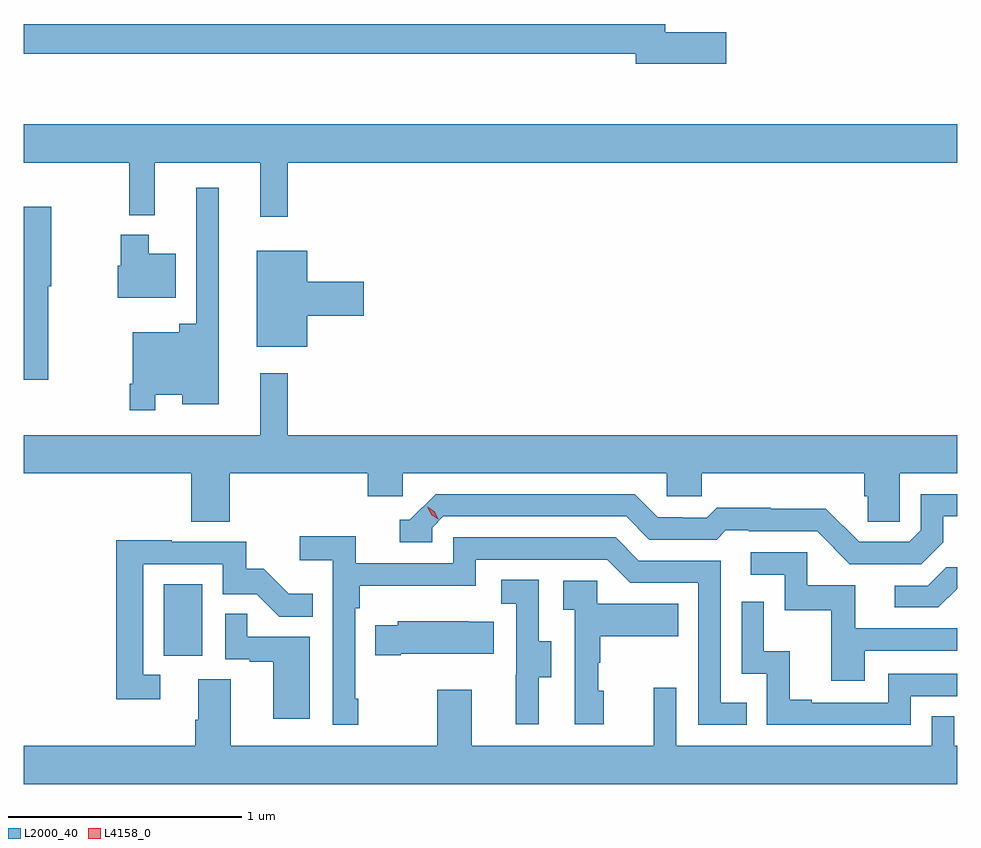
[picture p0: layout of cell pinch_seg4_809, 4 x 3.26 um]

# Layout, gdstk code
import gdstk
lib = gdstk.Library(unit=1e-6, precision=1e-09)
def R(c, l, rs):  # rectangles x0, y0, x1, y1
    for r in rs: c.add(gdstk.rectangle(r[:2], r[2:], *l))
def P(c, l, *ps):  # polygons
    for p in ps: c.add(gdstk.Polygon(p, *l))
L2000_40 = (2000, 40)
L4158_0 = (4158, 0)

pinch_seg4_809 = lib.new_cell('pinch_seg4_809')
R(pinch_seg4_809, L2000_40, [(805.124,801.366,805.288,801.673)])
P(pinch_seg4_809, L2000_40, [(807.535,804.038),(807.274,804.038),(807.274,804.074),(804.524,804.074),(804.524,803.946),(807.146,803.946),(807.146,803.903),(807.535,803.903)],
  [(805.655,803.48),(808.524,803.48),(808.524,803.644),(804.524,803.644),(804.524,803.48),(804.975,803.48),(804.975,803.255),(805.085,803.255),(805.085,803.48),(805.538,803.48),(805.538,803.247),(805.655,803.247)],
  [(805.086,802.484),(805.202,802.484),(805.202,802.445),(805.36,802.445),(805.36,803.371),(805.263,803.371),(805.263,802.789),(805.19,802.789),(805.19,802.753),(804.99,802.753),(804.99,802.531),(804.978,802.531),(804.978,802.419),(805.086,802.419)],
  [(804.628,802.95),(804.64,802.95),(804.64,803.29),(804.524,803.29),(804.524,802.548),(804.628,802.548)],
  [(805.174,803.089),(805.06,803.089),(805.06,803.17),(804.938,803.17),(804.938,803.037),(804.926,803.037),(804.926,802.901),(805.174,802.901)],
  [(805.738,802.823),(805.981,802.823),(805.981,802.97),(805.738,802.97),(805.738,803.101),(805.523,803.101),(805.523,802.691),(805.738,802.691)],
  [(805.406,802.148),(805.997,802.148),(805.997,802.05),(806.148,802.05),(806.148,802.148),(807.279,802.148),(807.279,802.05),(807.429,802.05),(807.429,802.148),(808.127,802.148),(808.127,802.05),(808.141,802.05),(808.141,801.94),(808.278,801.94),(808.278,802.148),(808.524,802.148),(808.524,802.312),(805.655,802.312),(805.655,802.576),(805.538,802.576),(805.538,802.312),(804.524,802.312),(804.524,802.148),(805.241,802.148),(805.241,801.94),(805.406,801.94)],
  [(808.465,801.853),(808.465,801.963),(808.524,801.963),(808.524,802.059),(808.368,802.059),(808.368,801.903),(808.32,801.855),(808.104,801.855),(807.962,801.997),(807.726,801.997),(807.726,802),(807.493,802),(807.451,801.957),(807.348,801.957),(807.348,801.96),(807.241,801.96),(807.142,802.059),(806.289,802.059),(806.178,801.948),(806.135,801.948),(806.135,801.852),(806.274,801.852),(806.274,801.915),(806.322,801.963),(807.105,801.963),(807.204,801.864),(807.493,801.864),(807.532,801.903),(807.631,801.903),(807.631,801.9),(807.924,801.9),(808.065,801.759),(808.371,801.759)],
  [(805.957,801.181),(805.944,801.181),(805.944,801.569),(805.964,801.569),(805.964,801.665),(806.46,801.665),(806.46,801.777),(807.024,801.777),(807.123,801.678),(807.414,801.678),(807.414,801.069),(807.623,801.069),(807.623,801.165),(807.51,801.165),(807.51,801.774),(807.16,801.774),(807.061,801.873),(806.364,801.873),(806.364,801.762),(805.946,801.762),(805.946,801.878),(805.707,801.878),(805.707,801.776),(805.848,801.776),(805.848,801.069),(805.957,801.069)],
  [(805.108,801.285),(805.035,801.285),(805.035,801.759),(805.377,801.759),(805.377,801.63),(805.521,801.63),(805.619,801.532),(805.763,801.532),(805.763,801.631),(805.659,801.631),(805.552,801.738),(805.476,801.738),(805.476,801.855),(805.157,801.855),(805.157,801.86),(804.919,801.86),(804.919,801.18),(805.108,801.18)],
  [(808.129,801.387),(808.524,801.387),(808.524,801.483),(808.087,801.483),(808.087,801.669),(807.882,801.669),(807.882,801.81),(807.639,801.81),(807.639,801.714),(807.786,801.714),(807.786,801.561),(807.985,801.561),(807.985,801.258),(808.129,801.258)],
  [(808.524,801.653),(808.524,801.746),(808.478,801.746),(808.398,801.666),(808.257,801.666),(808.257,801.573),(808.444,801.573)],
  [(806.731,801.274),(806.785,801.274),(806.785,801.429),(806.73,801.429),(806.73,801.692),(806.571,801.692),(806.571,801.589),(806.634,801.589),(806.634,801.285),(806.633,801.285),(806.633,801.072),(806.731,801.072)],
  [(807.01,801.216),(806.985,801.216),(806.985,801.335),(806.995,801.335),(806.995,801.449),(807.329,801.449),(807.329,801.589),(806.982,801.589),(806.982,801.687),(806.835,801.687),(806.835,801.563),(806.886,801.563),(806.886,801.072),(807.01,801.072)],
  [(808.326,801.192),(808.524,801.192),(808.524,801.288),(808.23,801.288),(808.23,801.165),(807.901,801.165),(807.901,801.178),(807.806,801.178),(807.806,801.386),(807.696,801.386),(807.696,801.598),(807.6,801.598),(807.6,801.288),(807.708,801.288),(807.708,801.069),(808.326,801.069)],
  [(805.75,801.447),(805.481,801.447),(805.481,801.545),(805.386,801.545),(805.386,801.351),(805.493,801.351),(805.493,801.339),(805.592,801.339),(805.592,801.096),(805.75,801.096)],
  [(806.14,801.374),(806.537,801.374),(806.537,801.511),(806.429,801.511),(806.429,801.514),(806.127,801.514),(806.127,801.496),(806.029,801.496),(806.029,801.367),(806.14,801.367)],
  [(808.524,800.98),(808.512,800.98),(808.512,801.107),(808.416,801.107),(808.416,800.98),(807.321,800.98),(807.321,801.229),(807.224,801.229),(807.224,800.98),(806.443,800.98),(806.443,801.22),(806.296,801.22),(806.296,800.98),(805.411,800.98),(805.411,801.266),(805.271,801.266),(805.271,801.092),(805.259,801.092),(805.259,800.98),(804.524,800.98),(804.524,800.816),(808.524,800.816)])
P(pinch_seg4_809, L4158_0, [(806.3,801.951),(806.269,801.97),(806.254,802.003),(806.254,802.004),(806.254,802.004),(806.284,801.984),(806.3,801.951),(806.3,801.951)])

lib.write_gds('pinch_seg4_809.gds')
